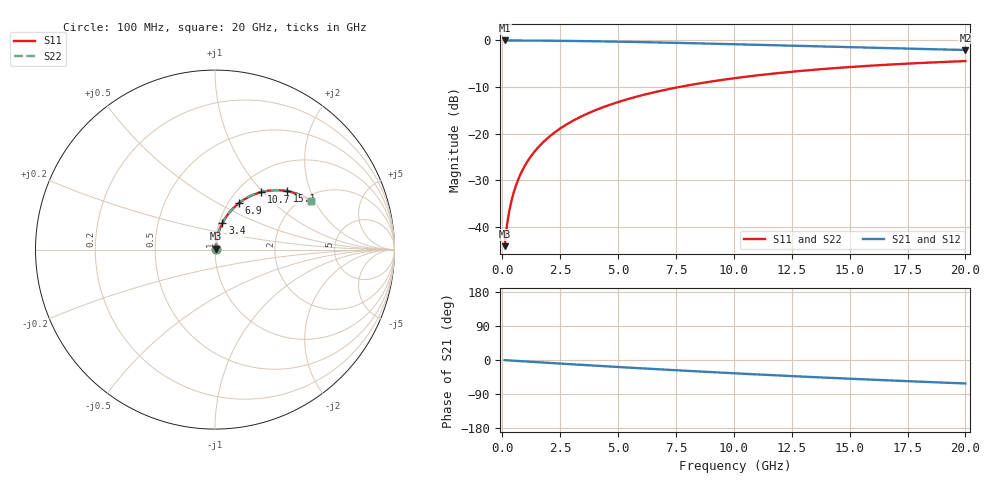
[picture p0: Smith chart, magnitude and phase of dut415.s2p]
! Touchstone file exported from HFSS 2026.1.0
!  File:  C:/ffzhzh/LocalFiles/Ansys_Project_Files/temp_train_BSMRDL_415_1783012610_55676.aedt
!  Generated:  01:18:28 AM Jul  3, 2026
!  Design:  BSMRDL
!  Project:  temp_train_BSMRDL_415_1783012610_55676
! Variables:
!  h_bsmrdl = 5.43um
!  h_ox = 20um
!  h_rdl = 5um
!  h_sub = 80um
!  h_tmrdl = 5um
!  h_tsv = 80um
!  h_via = 3um
!  l_bsmrdl = 936.93um
!  l_sub = 1336.93um
!  l_tmrdl = 200um
!  m_sub = 200um
!  pitch = 57.55um
!  r_tsv = 6um
!  s_tmrdl = 10um
!  w_bsmrdl = 15.65um
!  w_sub = 500um
!  w_tmrdl = 12um
!  x_tsv_center1 = 206um
!  x_tsv_center2 = 1158.58um
!  x_tsv_center3 = 1370.58um
!  x_tsv_center4 = 2323.16um
!  x_tsv_center5 = 2535.16um
!  x_tsv_center6 = 3487.74um
# GHz S MA R 50.000000
! Terminal data exported
! Port[1] = BSM_RDL1_1_T1
! Port[2] = BSM_RDL1_1_T2
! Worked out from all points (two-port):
!   200 points, 100 MHz to 20 GHz, reference 50 ohm
!   highest |S21| = -0.03 dB at 100 MHz (marker M1); lowest = -2.1 dB at 20 GHz (marker M2)
!   |S21| within 3 dB of the highest: start of sweep to end of sweep
!   lowest |S11| = -44.1 dB at 100 MHz (marker M3), VSWR 1.01, Z = 50.4 + j0.48 ohm
!   |S11| at or under -10 dB: start of sweep to 7.657 GHz
!   |S22| runs from -44.1 to -4.5 dB; largest |S21 - S12| = 6.1e-15
!   S11 on the Smith chart (normalised r, x): 100 MHz: 1.01, +0.01; 3.4 GHz: 1.04, +0.31; 6.9 GHz: 1.12, +0.63; 10.7 GHz: 1.27, +0.98; 15.1 GHz: 1.59, +1.41; 20 GHz: 2.21, +1.86
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0.1  0.006214 50.0  0.996 -0.4  0.996 -0.4  0.006214 50.0
! Gamma 0 0 0 0
! Port Impedance 50 0 50 0
0.2  0.01034 65.9  0.9959 -0.8  0.9959 -0.8  0.01034 65.9
0.3  0.01476 72.2  0.9957 -1.2  0.9957 -1.2  0.01476 72.2
0.4  0.01923 75.4  0.9955 -1.5  0.9955 -1.5  0.01923 75.4
0.5  0.02372 77.3  0.9953 -1.9  0.9953 -1.9  0.02372 77.3
0.7  0.03275 79.2  0.9949 -2.7  0.9949 -2.7  0.03275 79.2
1  0.04634 80.2  0.9941 -3.8  0.9941 -3.8  0.04634 80.2
1.4  0.06442 80.1  0.9928 -5.3  0.9928 -5.3  0.06442 80.1
2  0.09129 78.8  0.9901 -7.6  0.9901 -7.6  0.09129 78.8
2.6  0.1177 77.1  0.9867 -9.8  0.9867 -9.8  0.1177 77.1
3.4  0.1521 74.5  0.981 -12.8  0.981 -12.8  0.1521 74.5
3.5  0.1564 74.1  0.9802 -13.1  0.9802 -13.1  0.1564 74.2
5  0.2177 69.1  0.9669 -18.5  0.9669 -18.5  0.2177 69.1
6.8  0.2859 63.2  0.9475 -24.7  0.9475 -24.7  0.2859 63.2
6.9  0.2896 62.8  0.9464 -25.0  0.9464 -25.0  0.2895 62.9
8.4  0.3413 58.1  0.9283 -30.0  0.9283 -30.0  0.3413 58.1
10.1  0.3946 52.8  0.9065 -35.3  0.9065 -35.3  0.3946 52.9
10.7  0.412 51.1  0.8986 -37.2  0.8986 -37.2  0.412 51.1
13.4  0.4817 43.4  0.8633 -45.0  0.8633 -45.0  0.4817 43.5
15.1  0.5186 38.8  0.8419 -49.7  0.8419 -49.7  0.5185 39.0
16.7  0.5487 34.8  0.8228 -53.8  0.8228 -53.8  0.5487 34.9
20  0.5985 26.8  0.788 -61.9  0.788 -61.9  0.5985 27.0
